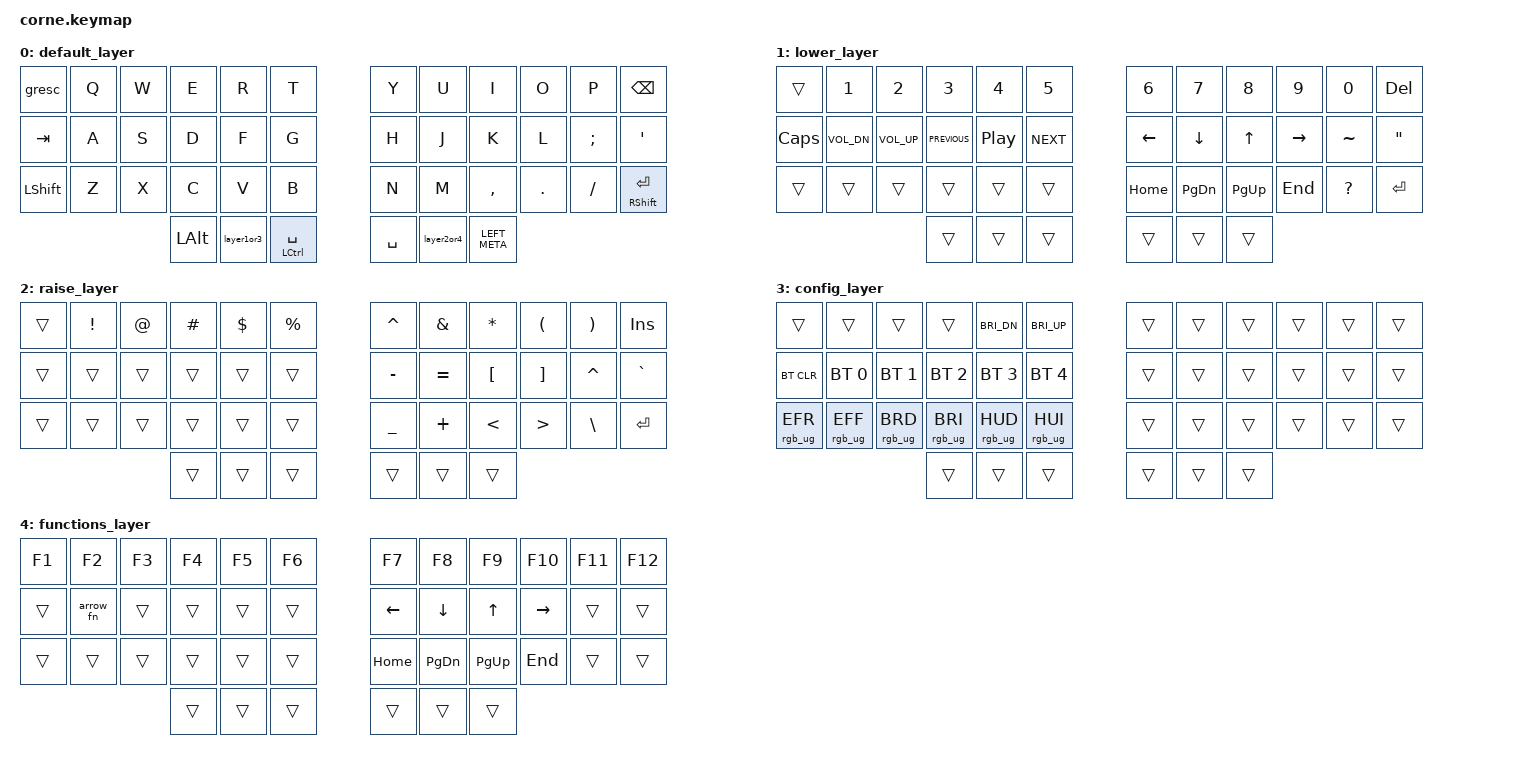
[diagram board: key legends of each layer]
/*
 * Copyright (c) 2020 The ZMK Contributors
 *
 * SPDX-License-Identifier: MIT
 */

#include <behaviors.dtsi>
#include <dt-bindings/zmk/bt.h>
#include <dt-bindings/zmk/keys.h>
#include <dt-bindings/zmk/rgb.h>

&led_strip { chain-length = <27>; };

/ {
    behaviors {
        layer2or4: layer2or4 {
            compatible = "zmk,behavior-tap-dance";
            label = "LAYER2OR4";
            #binding-cells = <0>;
            bindings = <&mo 2>, <&mo 4>;

            tapping-term-ms = <0>;
        };

        layer1or3: layer1or3 {
            compatible = "zmk,behavior-tap-dance";
            label = "LAYER1OR3";
            #binding-cells = <0>;
            bindings = <&mo 1>, <&mo 3>;

            tapping-term-ms = <0>;
        };
    };

    macros {
        arrow_fn: new_macro {
            compatible = "zmk,behavior-macro";
            #binding-cells = <0>;
            bindings = <&kp LEFT_PARENTHESIS &kp RIGHT_PARENTHESIS &kp EQUAL &kp GT &kp LEFT_BRACE &kp RBRC>;
            label = "NEW_MACRO";
        };
    };

    keymap {
        compatible = "zmk,keymap";

        default_layer {
            bindings = <
&gresc     &kp Q  &kp W  &kp E         &kp R       &kp T              &kp Y      &kp U       &kp I          &kp O    &kp P     &kp BSPC
&kp TAB    &kp A  &kp S  &kp D         &kp F       &kp G              &kp H      &kp J       &kp K          &kp L    &kp SEMI  &kp SQT
&kp LSHFT  &kp Z  &kp X  &kp C         &kp V       &kp B              &kp N      &kp M       &kp COMMA      &kp DOT  &kp FSLH  &mt RSHIFT ENTER
                         &kp LEFT_ALT  &layer1or3  &mt LCTRL SPACE    &kp SPACE  &layer2or4  &kp LEFT_META
            >;
        };

        lower_layer {
            bindings = <
&trans        &kp N1        &kp N2           &kp N3          &kp N4            &kp N5        &kp N6    &kp N7         &kp N8     &kp N9     &kp N0        &kp DEL
&kp CAPSLOCK  &kp C_VOL_DN  &kp C_VOLUME_UP  &kp C_PREVIOUS  &kp C_PLAY_PAUSE  &kp C_NEXT    &kp LEFT  &kp DOWN       &kp UP     &kp RIGHT  &kp TILDE     &kp DOUBLE_QUOTES
&trans        &trans        &trans           &trans          &trans            &trans        &kp HOME  &kp PAGE_DOWN  &kp PG_UP  &kp END    &kp QUESTION  &kp ENTER
                                             &trans          &trans            &trans        &trans    &trans         &trans
            >;
        };

        raise_layer {
            bindings = <
&trans  &kp EXCL  &kp AT  &kp HASH  &kp DLLR  &kp PRCNT    &kp CARET  &kp AMPS   &kp ASTRK      &kp LPAR          &kp RPAR       &kp INSERT
&trans  &trans    &trans  &trans    &trans    &trans       &kp MINUS  &kp EQUAL  &kp LBKT       &kp RBKT          &kp CARET      &kp GRAVE
&trans  &trans    &trans  &trans    &trans    &trans       &kp UNDER  &kp PLUS   &kp LESS_THAN  &kp GREATER_THAN  &kp BACKSLASH  &kp ENTER
                          &trans    &trans    &trans       &trans     &trans     &trans
            >;
        };

        config_layer {
            bindings = <
&trans           &trans           &trans           &trans           &kp C_BRI_DN     &kp C_BRI_UP       &trans  &trans  &trans  &trans  &trans  &trans
&bt BT_CLR       &bt BT_SEL 0     &bt BT_SEL 1     &bt BT_SEL 2     &bt BT_SEL 3     &bt BT_SEL 4       &trans  &trans  &trans  &trans  &trans  &trans
&rgb_ug RGB_EFR  &rgb_ug RGB_EFF  &rgb_ug RGB_BRD  &rgb_ug RGB_BRI  &rgb_ug RGB_HUD  &rgb_ug RGB_HUI    &trans  &trans  &trans  &trans  &trans  &trans
                                                   &trans           &trans           &trans             &trans  &trans  &trans
            >;
        };

        functions_layer {
            bindings = <
&kp F1  &kp F2     &kp F3  &kp F4  &kp F5  &kp F6    &kp F7    &kp F8         &kp F9        &kp F10    &kp F11  &kp F12
&trans  &arrow_fn  &trans  &trans  &trans  &trans    &kp LEFT  &kp DOWN       &kp UP_ARROW  &kp RIGHT  &trans   &trans
&trans  &trans     &trans  &trans  &trans  &trans    &kp HOME  &kp PAGE_DOWN  &kp PG_UP     &kp END    &trans   &trans
                           &trans  &trans  &trans    &trans    &trans         &trans
            >;
        };
    };
};
